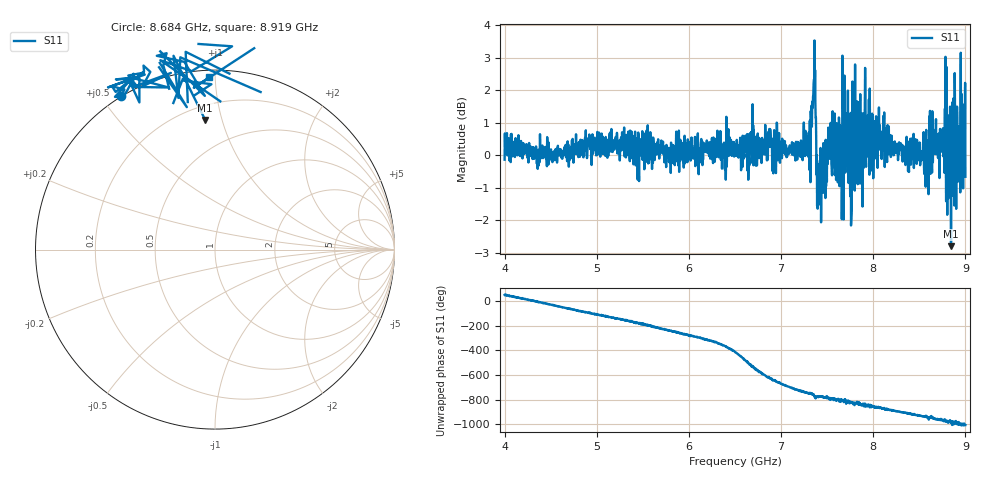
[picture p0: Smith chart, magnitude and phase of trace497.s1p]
! Created with skrf 1.8.0 (http://scikit-rf.org).
# Hz S RI R 50.0
!freq ReS11 ImS11
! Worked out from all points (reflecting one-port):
!   1601 points, 4 GHz to 9 GHz, reference 50 ohm
!   lowest |S11| = -2.8 dB at 8.844 GHz (marker M1), VSWR 6.25, Z = 14.6 + j44.2 ohm
!   phase of S11 starts at 49 deg and turns -1056 deg over the sweep
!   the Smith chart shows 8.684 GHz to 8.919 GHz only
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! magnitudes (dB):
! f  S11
! 4 GHz  -0.1
! 4.625 GHz  -0.1
! 5.25 GHz  -0.2
! 5.875 GHz  0.2
! 6.5 GHz  0.3
! 6.875 GHz  0.6
! 7.125 GHz  0.2
! 7.294 GHz  0.0
! 7.347 GHz  1.8
! 7.362 GHz  3.5
! 7.409 GHz  -0.8
! 7.538 GHz  1.0
! 7.638 GHz  0.9
! 7.647 GHz  0.6
! 7.691 GHz  0.9
! 7.75 GHz  -1.3
! 7.775 GHz  2.3
! 7.8 GHz  -1.1
! 7.875 GHz  0.6
! 7.928 GHz  0.3
! 7.981 GHz  -0.5
! 8.05 GHz  0.8
! 8.375 GHz  -0.1
! 8.578 GHz  -0.6
! 8.803 GHz  -1.8
! 8.844 GHz  -2.8
! 8.972 GHz  0.7
! 9 GHz  -0.7
